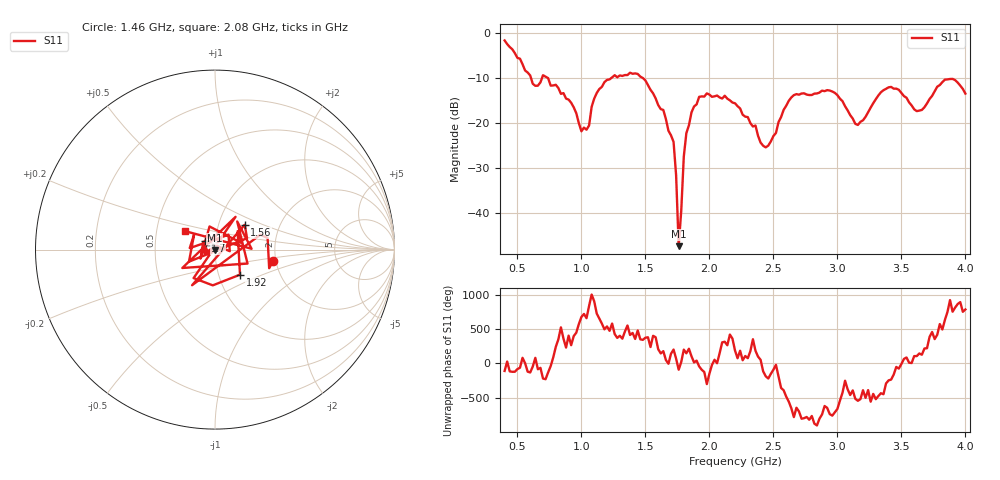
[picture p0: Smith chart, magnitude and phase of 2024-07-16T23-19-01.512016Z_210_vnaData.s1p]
!Created with skrf (http://scikit-rf.org).
# Hz S RI R 50.0
!freq ReS11 ImS11
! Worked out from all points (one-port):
!   181 points, 400 MHz to 4 GHz, reference 50 ohm
!   lowest |S11| = -47.3 dB at 1.76 GHz (marker M1), VSWR 1.01, Z = 50 - j0.432 ohm
!   |S11| at or under -10 dB: 607 MHz to 691.1 MHz (84.08 MHz wide, 13 % of centre); 740.7 MHz to 1.23 GHz (489.5 MHz wide, 49.7 % of centre); 1.483 GHz to end of sweep
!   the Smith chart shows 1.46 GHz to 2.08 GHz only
!   S11 on the Smith chart (normalised r, x): 1.46 GHz: 1.94, -0.27; 1.56 GHz: 1.33, +0.39; 1.7 GHz: 0.89, +0.09; 1.92 GHz: 1.26, -0.37; 2.08 GHz: 0.70, +0.15
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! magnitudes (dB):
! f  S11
! 400 MHz  -1.6
! 620 MHz  -11.2
! 700 MHz  -9.3
! 860 MHz  -13.3
! 1.04 GHz  -21.4
! 1.12 GHz  -13.2
! 1.3 GHz  -9.4
! 1.46 GHz  -9.6
! 1.56 GHz  -13.3
! 1.7 GHz  -22.6
! 1.72 GHz  -24.1
! 1.74 GHz  -31.5
! 1.76 GHz  -47.3
! 1.8 GHz  -27.3
! 1.82 GHz  -22.2
! 1.92 GHz  -14.1
! 2.08 GHz  -14.2
! 2.2 GHz  -15.5
! 2.44 GHz  -25.3
! 2.66 GHz  -13.7
! 2.94 GHz  -12.7
! 3.1 GHz  -18.2
! 3.16 GHz  -20.3
! 3.4 GHz  -12.0
! 3.56 GHz  -15.3
! 3.66 GHz  -17.0
! 3.84 GHz  -10.3
! 4 GHz  -13.4
